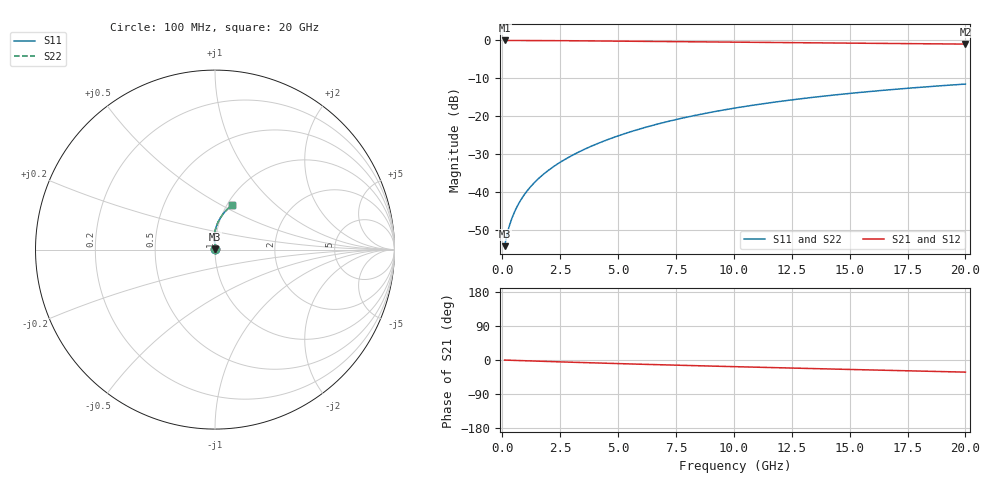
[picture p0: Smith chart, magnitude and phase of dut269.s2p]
! Touchstone file exported from HFSS 2024.1.0
!  File:  C:/UserFiles/LocalFiles/RDL_TSV_Batchsim/temp_RDL_top_269_1778689587.aedt
!  Generated:  12:28:32 AM May 14, 2026
!  Design:  RDL_top
!  Project:  temp_RDL_top_269_1778689587
!  Setup:  Setup1
!  Solution:  Sweep
! Variables:
!  dtsv = 10.80580581um
!  hbump = 3um
!  htsv = 62.57um
!  ldown = 100um
!  lrdl = 466.56um
!  p = 40
!  p1 = 54.1um
!  rhole = 1um
!  t = 450um
!  tdown = 3.915915916um
!  trdl = 4.16um
!  wdown = 15.38538539um
!  wrdl = 29.5um
# GHz S MA R 50.000000
! Terminal data exported
! Port[1] = Box2_T1
! Port[2] = Box2_T2
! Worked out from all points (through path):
!   200 points, 100 MHz to 20 GHz, reference 50 ohm
!   highest |S21| = -0.01 dB at 100 MHz (marker M1); lowest = -1.0 dB at 20 GHz (marker M2)
!   group delay of S21, straight-line fit = 4.36 ps
!   lowest |S11| = -54.2 dB at 100 MHz (marker M3), VSWR 1.00, Z = 50.2 + j0.113 ohm
!   |S11| at or under -10 dB: start of sweep to end of sweep
!   |S22| runs from -54.2 to -11.5 dB; largest |S21 - S12| = 3.4e-15
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0.1  0.001939 35.4  0.9984 -0.2  0.9984 -0.2  0.001939 35.4
! Gamma 0 0 0 0
! Port Impedance 50 0 50 0
0.2  0.002733 51.4  0.9982 -0.4  0.9982 -0.4  0.002733 51.4
0.3  0.003559 59.8  0.9981 -0.6  0.9981 -0.6  0.00356 59.8
0.4  0.004392 65.3  0.9979 -0.8  0.9979 -0.8  0.004392 65.3
0.5  0.005238 69.5  0.9978 -1.0  0.9978 -1.0  0.005238 69.5
0.6  0.006102 72.7  0.9976 -1.2  0.9976 -1.2  0.006102 72.6
0.8  0.007876 77.3  0.9973 -1.6  0.9973 -1.6  0.007876 77.3
1.1  0.01063 81.8  0.9967 -2.2  0.9967 -2.2  0.01063 81.8
1.3  0.01252 83.9  0.9962 -2.6  0.9962 -2.6  0.01252 83.9
1.6  0.01544 86.3  0.9954 -3.2  0.9954 -3.2  0.01544 86.3
2.1  0.0205 89.0  0.9937 -4.2  0.9937 -4.2  0.0205 89.0
2.7  0.02692 91.2  0.9911 -5.3  0.9911 -5.3  0.02692 91.2
3.5  0.03612 92.8  0.9871 -6.8  0.9871 -6.8  0.03611 92.8
4.2  0.04473 93.5  0.9831 -8.1  0.9831 -8.1  0.04472 93.5
5  0.05515 93.6  0.9783 -9.5  0.9783 -9.5  0.05514 93.6
6.8  0.08028 92.1  0.9671 -12.5  0.9671 -12.5  0.08027 92.1
8.4  0.1038 89.8  0.9573 -15.1  0.9573 -15.1  0.1037 89.7
10.1  0.1291 86.8  0.9473 -17.7  0.9473 -17.7  0.129 86.8
11.7  0.1527 83.8  0.9383 -20.1  0.9383 -20.1  0.1527 83.8
13.4  0.1774 80.6  0.929 -22.6  0.929 -22.6  0.1774 80.6
16.7  0.2232 74.6  0.9115 -27.4  0.9115 -27.4  0.2232 74.6
20  0.2657 69.0  0.8941 -32.0  0.8941 -32.0  0.2656 68.9
